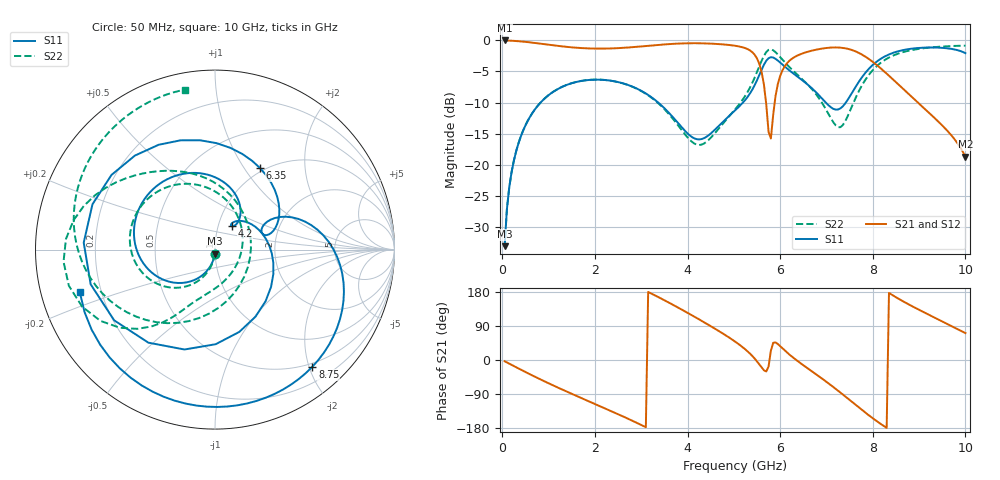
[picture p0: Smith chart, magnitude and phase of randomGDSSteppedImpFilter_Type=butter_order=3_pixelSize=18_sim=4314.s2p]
! freq	dB(S11)	phase(S11)	dB(S12)	phase(S12)
!  dB(S21)	phase(S21)	dB(S22)	phase(S22)
!S-par simulation data
#  GHz  S  DB  R 50
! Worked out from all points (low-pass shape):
!   200 points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, 50 MHz to 10 GHz, reference 50 ohm
!   highest |S21| = -0.01 dB at 50 MHz (marker M1); lowest = -18.7 dB at 10 GHz (marker M2)
!   |S21| within 3 dB of the highest: start of sweep to 5.506 GHz; 6.244 GHz to 7.919 GHz (1.675 GHz wide, 23.6 % of centre)
!   lowest |S11| = -33.1 dB at 50 MHz (marker M3), VSWR 1.05, Z = 49.8 - j2.2 ohm
!   |S11| at or under -10 dB: start of sweep to 827.4 MHz; 3.367 GHz to 5.197 GHz (1.83 GHz wide, 42.7 % of centre); 6.986 GHz to 7.418 GHz (432.1 MHz wide, 6 % of centre)
!   |S22| runs from -33.1 to -0.9 dB; largest |S21 - S12| = 0
!   S11 on the Smith chart (normalised r, x): 50 MHz: 1.00, -0.04; 4.2 GHz: 1.16, +0.31; 6.35 GHz: 0.95, +1.18; 8.75 GHz: 0.44, -2.05; 10 GHz: 0.12, -0.15
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0.05  -33.11 -92.9  -0.01 -3.2  -0.01 -3.2  -33.10 -92.4
0.2  -21.22 -104.2  -0.05 -12.9  -0.05 -12.9  -21.21 -102.2
0.5  -13.68 -124.6  -0.24 -31.7  -0.24 -31.7  -13.67 -119.7
1.1  -8.27 -163.1  -0.79 -67.2  -0.79 -67.2  -8.26 -152.3
1.75  -6.47 158.4  -1.25 -102.6  -1.25 -102.6  -6.46 175.5
2.7  -7.13 103.9  -1.15 -154.1  -1.15 -154.1  -7.14 127.8
3.4  -10.21 65.6  -0.71 164.1  -0.71 164.1  -10.33 84.0
4.2  -15.89 54.0  -0.46 110.7  -0.46 110.7  -16.77 -11.5
4.65  -13.94 52.4  -0.58 78.4  -0.58 78.4  -14.40 -78.1
5.05  -11.10 18.3  -0.89 46.7  -0.89 46.7  -10.90 -107.8
5.4  -7.90 -45.6  -1.91 10.5  -1.91 10.5  -6.81 -122.9
5.6  -4.70 -107.0  -5.09 -19.9  -5.09 -19.9  -3.28 -140.6
5.8  -2.70 177.0  -15.79 24.8  -15.79 24.8  -1.45 -175.4
6  -3.57 118.3  -5.72 36.5  -5.72 36.5  -2.69 155.7
6.35  -5.69 61.2  -2.52 -0.3  -2.52 -0.3  -5.35 126.0
6.7  -7.80 28.5  -1.62 -31.1  -1.62 -31.1  -7.96 97.0
7.4  -10.19 27.2  -1.26 -95.6  -1.26 -95.6  -13.08 -42.5
7.85  -5.13 14.2  -2.66 -139.9  -2.66 -139.9  -6.22 -122.9
8.35  -2.26 -21.8  -5.68 176.9  -5.68 176.9  -2.76 -170.8
8.75  -1.43 -50.3  -8.46 148.4  -8.46 148.4  -1.70 161.9
9.5  -1.20 -104.9  -13.68 102.1  -13.68 102.1  -0.99 123.0
10  -2.05 -162.6  -18.72 71.1  -18.72 71.1  -0.85 100.6
